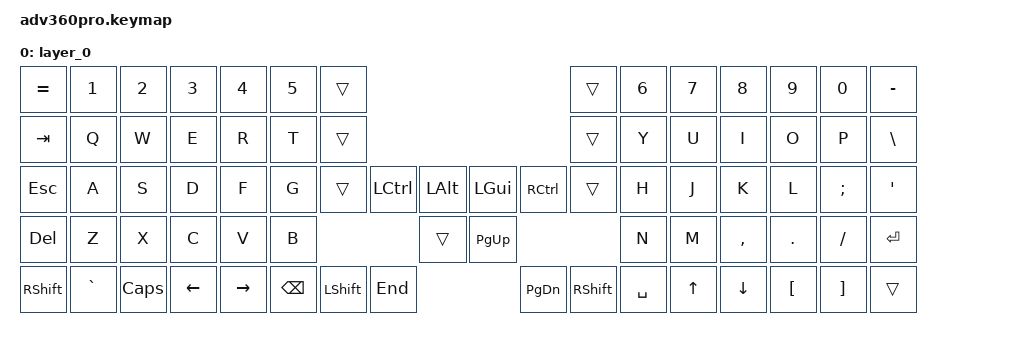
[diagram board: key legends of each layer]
/* source keypos definitions */

#include "../zmk-nodefree-config/keypos_def/keypos_adv360.h"

/* map 360's extra keys */

#define X_LT    &kp EQUAL &kp F1 &kp F2 &kp F3 &kp F4 &kp F5 &kp F11     &kp F12 &kp F6 &kp F7 &kp F8 &kp F9 &kp F10 &kp MINUS \
                &kp TAB
#define X_MT    &none &none
#define X_RT    &kp BSLH
#define X_LM    &kp ESC
#define X_MM    &none &none
#define X_RM    &kp SQT
#define X_LB    &kp LSHFT
#define X_RB    &kp RSHFT
#define X_LH    &none &kp GRAVE &kp CAPS &kp LEFT &kp RIGHT     &kp UP &kp DOWN U_WH_D U_WH_U &none \
                &kp LCTRL &kp LALT      &kp LGUI  &kp RCTRL
#define X_MH    &kp HOME    &kp PG_UP
#define X_RH    &kp END     &kp PG_DN

/* activate bluetooth */

#define CONFIG_WIRELESS 1

/* leds and backlights */
/* source the main keymap */

#include "base.keymap"
#include <behaviors.dtsi>
#include <dt-bindings/zmk/keys.h>

/* use urob's layout for Advantage 360 pro */

/ {
    chosen { zmk,matrix_transform = &urobs_transform; };

    keymap {
        compatible = "zmk,keymap";

        layer_0 {
            bindings = <
&kp EQUAL  &kp N1     &kp N2    &kp N3    &kp N4     &kp N5  &trans                                                                    &trans  &kp N6  &kp N7  &kp N8     &kp N9    &kp N0    &kp MINUS
&kp TAB    &kp Q      &kp W     &kp E     &kp R      &kp T   &trans                                                                    &trans  &kp Y   &kp U   &kp I      &kp O     &kp P     &kp BSLH
&kp ESC    &kp A      &kp S     &kp D     &kp F      &kp G   &trans            &kp LCTRL  &kp LALT    &kp LGUI   &kp RCTRL             &trans  &kp H   &kp J   &kp K      &kp L     &kp SEMI  &kp SQT
&kp DEL    &kp Z      &kp X     &kp C     &kp V      &kp B                                &trans      &kp PG_UP                                &kp N   &kp M   &kp COMMA  &kp DOT   &kp FSLH  &kp RET
&kp RSHFT  &kp GRAVE  &kp CAPS  &kp LEFT  &kp RIGHT                  &kp BSPC  &kp LSHFT  &kp END     &kp PG_DN  &kp RSHFT  &kp SPACE                  &kp UP  &kp DOWN   &kp LBKT  &kp RBKT  &trans
            >;
        };
    };
};
